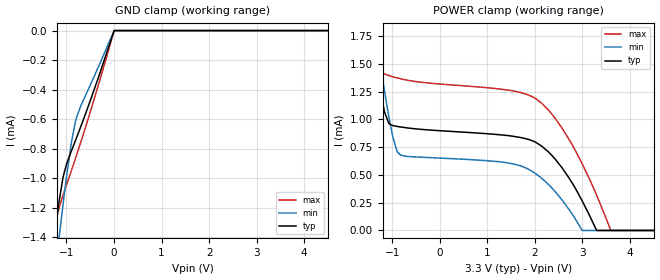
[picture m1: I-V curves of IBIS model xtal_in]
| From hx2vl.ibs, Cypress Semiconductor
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[Model]   xtal_in
Model_type   Input
Vinl = 0.8
Vinh = 2.0
|   typ   min   max
C_comp   0.21pF   0.20pF   0.22pF
[Voltage Range]   3.3   3   3.6
[Temperature Range]   25   100   0
[Power Clamp Reference]   3.3   3   3.6
[GND Clamp Reference]   0   0   0
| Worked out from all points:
|   GND clamp passes 1 mA (typ) near -1.07 V on its own axis
|   POWER clamp passes 1 mA (typ) near -1.10 V on its own axis
[GND Clamp]
|   Voltage   I(typ)   I(min)   I(max)
-3.303V   -7.548mA   -7.859mA   -7.452mA
-1.262V   -1.421mA   -1.706mA   -1.383mA
-1.183V   -1.221mA   -1.483mA   -1.238mA
-1.165V   -1.178mA   -1.432mA   -1.214mA
-1.056V   -974.6uA   -1.138mA   -1.1mA
-993.3mV  -899.7uA   -978.8uA   -1.041mA
-897mV    -817.1uA   -761.1uA   -950.1uA
-789mV    -727.5uA   -591.2uA   -845.6uA
-702mV    -653.7uA   -513.2uA   -759.4uA
-508.2mV  -483.2uA   -376.1uA   -561.1uA
4.8mV     -1.016uA   -247.7nA   0A
6.607V    0A         0A         0A
[POWER Clamp]
|   Voltage   I(typ)   I(min)   I(max)
-3.303V   7.351mA    7.615mA    7.278mA
-1.554V   2.089mA    2.363mA    2.041mA
-1.363V   1.552mA    1.81mA     1.565mA
-1.165V   1.07mA     1.263mA    1.409mA
-992.4mV  944.5uA    850.3uA    1.384mA
-825mV    931.3uA    678.4uA    1.365mA
2.024V    791.7uA    509.2uA    1.185mA
2.571V    564.4uA    275uA      921uA
2.997V    265uA      0A         598.3uA
3.3V      0A         0A         316.6uA
3.598V    0A         0A         0A
6.607V    0A         0A         0A
